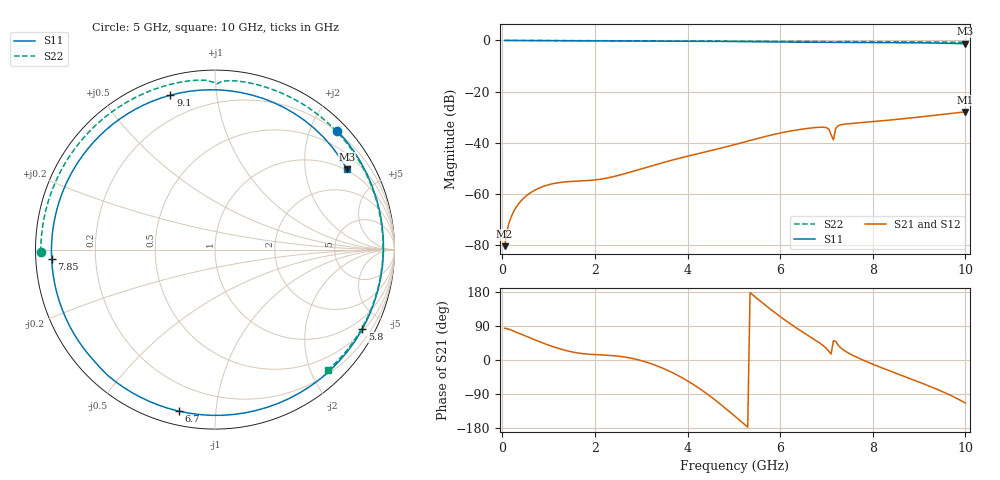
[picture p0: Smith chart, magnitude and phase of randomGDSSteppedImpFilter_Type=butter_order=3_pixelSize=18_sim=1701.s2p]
! freq	dB(S11)	phase(S11)	dB(S12)	phase(S12)
!  dB(S21)	phase(S21)	dB(S22)	phase(S22)
!S-par simulation data
#  GHz  S  DB  R 50
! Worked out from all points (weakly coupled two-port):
!   200 points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, 50 MHz to 10 GHz, reference 50 ohm
!   highest |S21| = -28.01 dB at 10 GHz (marker M1); lowest = -80.6 dB at 50 MHz (marker M2)
!   lowest |S11| = -1.3 dB at 10 GHz (marker M3), VSWR 13.40, Z = 47.9 + j166 ohm
!   |S11| at or under -10 dB: nowhere
!   |S22| runs from -0.7 to 0.0 dB; largest |S21 - S12| = 0
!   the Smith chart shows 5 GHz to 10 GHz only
!   S11 on the Smith chart (normalised r, x): 5 GHz: 0.18, +2.45; 5.8 GHz: 0.57, -3.89; 6.7 GHz: 0.07, -0.80; 7.85 GHz: 0.05, -0.03; 9.1 GHz: 0.09, +0.75; 10 GHz: 0.96, +3.31
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0.05  -0.00 -3.7  -80.55 83.8  -80.55 83.8  -0.00 -1.9
0.2  -0.02 -14.7  -68.73 78.5  -68.73 78.5  -0.01 -7.6
0.5  -0.04 -36.3  -61.14 63.4  -61.14 63.4  -0.02 -19.0
1.1  -0.08 -76.9  -56.06 35.0  -56.06 35.0  -0.05 -41.5
1.75  -0.12 -116.1  -54.96 16.7  -54.96 16.7  -0.08 -65.1
2.6  -0.16 -162.0  -52.39 8.6  -52.39 8.6  -0.12 -95.1
3.4  -0.20 155.3  -48.17 -18.4  -48.17 -18.4  -0.16 -122.7
4.3  -0.31 99.3  -44.01 -78.9  -44.01 -78.9  -0.21 -153.9
5  -0.44 44.2  -40.86 -146.0  -40.86 -146.0  -0.26 -179.2
5.05  -0.45 39.9  -40.62 -151.2  -40.62 -151.2  -0.26 179.0
5.45  -0.54 3.8  -38.67 167.5  -38.67 167.5  -0.29 163.7
5.8  -0.61 -28.3  -37.06 133.1  -37.06 133.1  -0.32 149.7
6.25  -0.66 -67.6  -35.38 92.9  -35.38 92.9  -0.36 130.6
6.7  -0.70 -102.7  -34.21 57.0  -34.21 57.0  -0.40 110.3
7  -0.71 -123.8  -34.16 30.4  -34.16 30.4  -0.46 95.8
7.15  -0.74 -134.0  -38.94 50.6  -38.94 50.6  -0.69 89.4
7.25  -0.77 -140.2  -33.41 39.7  -33.41 39.7  -0.49 84.9
7.85  -0.80 -176.7  -32.02 -3.4  -32.02 -3.4  -0.48 54.3
8.35  -0.85 153.7  -31.20 -27.9  -31.20 -27.9  -0.52 28.9
9.1  -0.96 106.1  -29.81 -63.0  -29.81 -63.0  -0.59 -7.6
9.55  -1.07 72.4  -28.85 -85.9  -28.85 -85.9  -0.65 -27.9
10  -1.30 31.3  -28.01 -113.6  -28.01 -113.6  -0.73 -46.8
